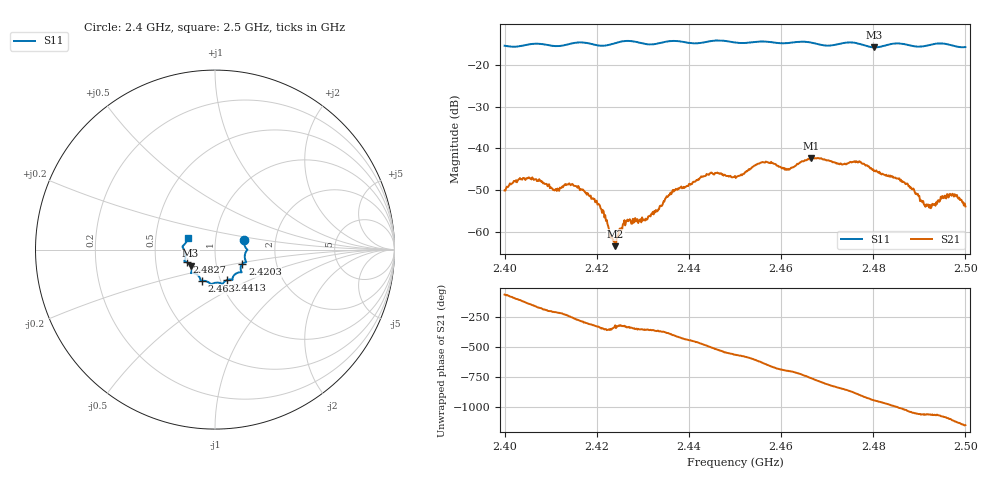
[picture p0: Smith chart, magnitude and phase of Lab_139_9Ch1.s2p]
# Hz S RI R 50
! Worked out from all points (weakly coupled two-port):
!   601 points, 2.4 GHz to 2.5 GHz, reference 50 ohm
!   highest |S21| = -42.26 dB at 2.4665 GHz (marker M1); lowest = -63.5 dB at 2.424 GHz (marker M2)
!   lowest |S11| = -15.7 dB at 2.4802 GHz (marker M3), VSWR 1.39, Z = 37.5 - j6.94 ohm
!   |S11| at or under -10 dB: start of sweep to end of sweep
!   S12 and S22 are empty: the file has one direction only
!   S11 on the Smith chart (normalised r, x): 2.4 GHz: 1.38, +0.15; 2.4203 GHz: 1.34, -0.22; 2.4413 GHz: 1.08, -0.38; 2.463 GHz: 0.82, -0.29; 2.4827 GHz: 0.72, -0.11; 2.5 GHz: 0.73, +0.10
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2.4e9  0.1626 0.0526  0.0014 -0.0028  0 0  0 0
2.405167e9  0.1768 0.00315  -0.00341 -0.00291  0 0  0 0
2.410833e9  0.1678 -0.023  -0.00269 0.00159  0 0  0 0
2.416667e9  0.1738 -0.0697  0.001 0.00307  0 0  0 0
2.420333e9  0.1525 -0.0799  0.00189 0.00105  0 0  0 0
2.424e9  0.1437 -0.1144  0.000514 0.000432  0 0  0 0
2.426167e9  0.1487 -0.1258  0.00105 0.000567  0 0  0 0
2.433333e9  0.1002 -0.1519  0.00184 -0.000164  0 0  0 0
2.436833e9  0.0974 -0.169  0.00226 -0.00224  0 0  0 0
2.441333e9  0.0675 -0.1694  -0.000473 -0.00397  0 0  0 0
2.444667e9  0.0446 -0.1886  -0.004 -0.00305  0 0  0 0
2.45e9  0.0245 -0.1852  -0.00418 0.00209  0 0  0 0
2.455833e9  -0.0197 -0.1912  0.00013 0.00681  0 0  0 0
2.463e9  -0.0724 -0.1734  0.00608 0.000655  0 0  0 0
2.4665e9  -0.081 -0.1681  0.00573 -0.00516  0 0  0 0
2.466667e9  -0.0812 -0.1672  0.00546 -0.00525  0 0  0 0
2.480167e9  -0.136 -0.0902  -0.00357 0.00396  0 0  0 0
2.482667e9  -0.1572 -0.0706  -0.00129 0.00455  0 0  0 0
2.483333e9  -0.1625 -0.0683  -0.000686 0.0047  0 0  0 0
2.491667e9  -0.1715 -0.00157  0.00194 0.000625  0 0  0 0
2.497167e9  -0.1695 0.0299  0.00236 -0.00162  0 0  0 0
2.5e9  -0.1515 0.064  0.000548 -0.00194  0 0  0 0
